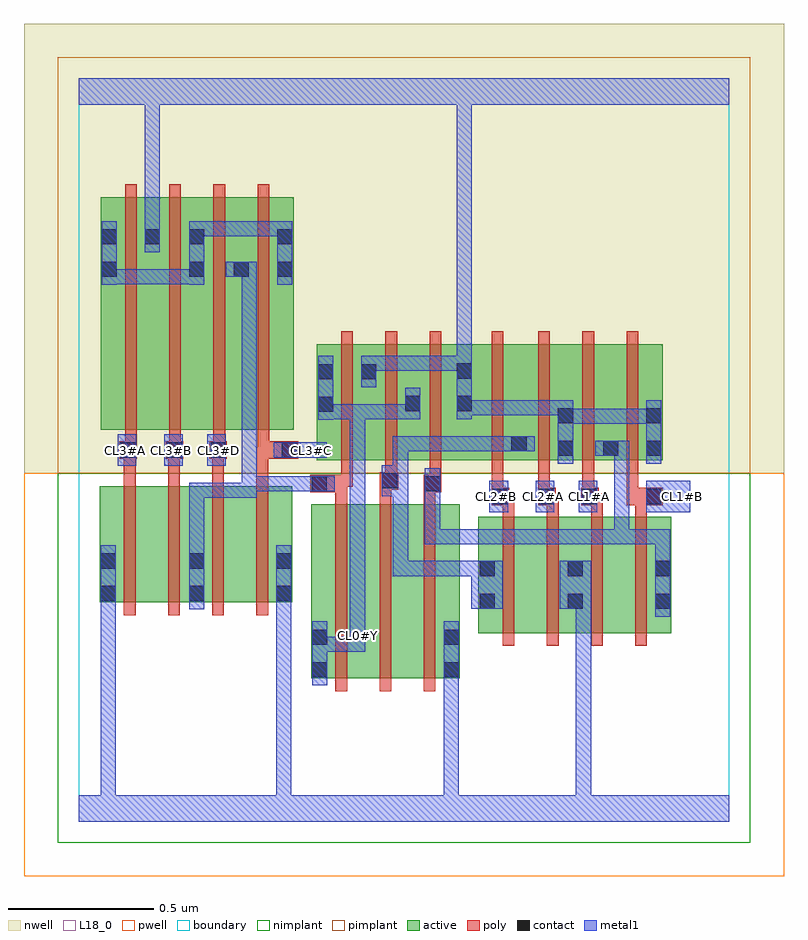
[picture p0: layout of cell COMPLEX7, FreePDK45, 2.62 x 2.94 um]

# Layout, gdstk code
import gdstk
lib = gdstk.Library(unit=1e-6, precision=1e-09)
def R(c, l, rs):  # rectangles x0, y0, x1, y1
    for r in rs: c.add(gdstk.rectangle(r[:2], r[2:], *l))
def A(c, l, x, y, w, h, nx, ny, dx, dy):  # array of equal rectangles
    R(c, l, [(x+i*dx, y+j*dy, x+i*dx+w, y+j*dy+h) for i in range(nx) for j in range(ny)])
active = (1, 0)
pwell = (2, 0)
nwell = (3, 0)
nimplant = (4, 0)
pimplant = (5, 0)
poly = (9, 0)
contact = (10, 0)
metal1 = (11, 0)
L18_0 = (18, 0)
boundary = (235, 0)

complex7 = lib.new_cell('COMPLEX7')
R(complex7, active, [(0.8,0.494,0.86,1.094), (0.8,0.494,0.98,1.094), (0.98,0.494,1.132,1.094), (1.132,0.494,1.312,1.094), (1.252,0.494,1.312,1.094), (1.376,0.65,1.556,1.05), (1.556,0.65,1.74,1.05), (1.68,0.65,1.86,1.05), (1.86,0.65,2.04,1.05), (1.98,0.65,2.04,1.05), (1.376,0.73,1.436,1.05), (1.68,0.73,1.74,0.902), (0.072,0.756,0.132,1.156), (0.072,0.756,0.252,1.156), (0.252,0.756,0.436,1.156), (0.376,0.756,0.556,1.156), (0.376,0.756,0.436,0.928), (0.556,0.756,0.736,1.156), (0.676,0.756,0.736,1.156), (0.82,1.244,0.88,1.644), (0.82,1.244,1.028,1.644), (0.968,1.244,1.028,1.644), (0.968,1.244,1.18,1.644), (1.12,1.244,1.18,1.644), (1.12,1.244,1.358,1.644), (1.298,1.244,1.358,1.644), (1.298,1.244,1.546,1.644), (1.486,1.244,1.546,1.644), (1.486,1.244,1.706,1.644), (1.646,1.244,1.706,1.644), (1.646,1.244,1.862,1.644), (1.802,1.244,1.862,1.644), (1.802,1.244,2.01,1.644), (1.95,1.244,2.01,1.644), (0.076,1.35,0.136,2.044), (0.076,1.35,0.284,2.15), (0.224,1.35,0.436,2.15), (0.224,1.35,0.284,2.15), (0.376,1.35,0.436,2.044), (0.376,1.35,0.59,2.15), (0.53,1.35,0.59,2.044), (0.53,1.35,0.74,2.15), (0.68,1.35,0.74,2.044)])
R(complex7, pwell, [(-0.188,-0.188,2.428,1.2)])
R(complex7, nwell, [(-0.188,1.2,2.428,2.748)])
R(complex7, nimplant, [(-0.072,-0.072,2.312,1.2)])
R(complex7, pimplant, [(-0.072,1.2,2.312,2.632)])
A(complex7, poly, 0.884, 0.45, 0.04, 0.688, 3, 1, 0.152, 0)
A(complex7, poly, 1.46, 0.606, 0.04, 0.488, 4, 1, 0.152, 0)
A(complex7, poly, 0.156, 0.712, 0.04, 0.488, 4, 1, 0.152, 0)
A(complex7, poly, 1.46, 1.054, 0.04, 0.076, 4, 1, 0.152, 0)
A(complex7, poly, 1.582, 1.11, 0.04, 0.13, 3, 1, 0.152, 0)
A(complex7, poly, 0.156, 1.16, 0.04, 0.13, 4, 1, 0.152, 0)
A(complex7, poly, 0.904, 1.2, 0.04, 0.488, 3, 1, 0.152, 0)
A(complex7, poly, 1.582, 1.2, 0.04, 0.488, 3, 1, 0.152, 0)
A(complex7, poly, 0.16, 1.27, 0.04, 0.076, 4, 1, 0.152, 0)
A(complex7, poly, 0.16, 1.306, 0.04, 0.888, 4, 1, 0.152, 0)
R(complex7, poly, [(1.422,1.09,1.482,1.15), (1.442,1.09,1.482,1.13), (1.442,1.09,1.5,1.13), (1.582,1.09,1.642,1.15), (1.602,1.09,1.642,1.13), (1.602,1.09,1.652,1.13), (1.73,1.09,1.79,1.15), (1.75,1.09,1.79,1.13), (1.75,1.09,1.804,1.13), (1.886,1.09,2.01,1.15), (1.916,1.09,1.956,1.13), (1.916,1.09,1.956,1.13), (0.884,1.098,0.924,1.174), (1.036,1.098,1.076,1.184), (1.188,1.098,1.228,1.174), (1.422,1.11,1.462,1.24), (0.798,1.134,0.924,1.194), (1.188,1.134,1.248,1.194), (1.036,1.144,1.1,1.204), (0.884,1.154,0.924,1.194), (0.884,1.154,0.944,1.194), (0.904,1.154,0.944,1.24), (1.208,1.154,1.248,1.194), (1.208,1.154,1.248,1.194), (1.208,1.154,1.248,1.24), (1.056,1.164,1.096,1.204), (1.056,1.164,1.096,1.204), (1.056,1.164,1.096,1.24), (1.422,1.2,1.462,1.688), (0.14,1.25,0.2,1.31), (0.156,1.25,0.196,1.29), (0.156,1.25,0.196,1.29), (0.3,1.25,0.36,1.31), (0.308,1.25,0.348,1.29), (0.308,1.25,0.348,1.29), (0.45,1.25,0.51,1.31), (0.46,1.25,0.5,1.29), (0.46,1.25,0.5,1.29), (0.612,1.25,0.656,1.29), (0.616,1.25,0.656,1.29), (0.616,1.25,0.756,1.31)])
R(complex7, contact, [(0.804,0.498,0.856,0.55), (1.256,0.498,1.308,0.55), (0.804,0.61,0.856,0.662), (1.256,0.61,1.308,0.662), (1.38,0.734,1.432,0.786), (1.684,0.734,1.736,0.786), (1.984,0.734,2.036,0.786), (0.076,0.76,0.128,0.812), (0.38,0.76,0.432,0.812), (0.68,0.76,0.732,0.812), (1.38,0.846,1.432,0.898), (1.684,0.846,1.736,0.898), (1.984,0.846,2.036,0.898), (0.076,0.872,0.128,0.924), (0.38,0.872,0.432,0.924), (0.68,0.872,0.732,0.924), (1.426,1.094,1.478,1.146), (1.586,1.094,1.638,1.146), (1.734,1.094,1.786,1.146), (1.954,1.094,2.006,1.146), (0.802,1.138,0.854,1.19), (1.192,1.138,1.244,1.19), (1.044,1.148,1.096,1.2), (0.144,1.254,0.196,1.306), (0.304,1.254,0.356,1.306), (0.454,1.254,0.506,1.306), (0.7,1.254,0.752,1.306), (1.65,1.26,1.702,1.312), (1.806,1.26,1.858,1.312), (1.954,1.26,2.006,1.312), (1.49,1.276,1.542,1.328), (1.65,1.372,1.702,1.424), (1.954,1.372,2.006,1.424), (0.824,1.412,0.876,1.464), (1.124,1.414,1.176,1.466), (1.302,1.414,1.354,1.466), (0.824,1.524,0.876,1.576), (0.972,1.524,1.024,1.576), (1.302,1.526,1.354,1.578), (0.08,1.876,0.132,1.928), (0.38,1.876,0.432,1.928), (0.534,1.876,0.586,1.928), (0.684,1.876,0.736,1.928), (0.08,1.988,0.132,2.04), (0.228,1.988,0.28,2.04), (0.38,1.988,0.432,2.04), (0.684,1.988,0.736,2.04)])
A(complex7, metal1, 1.082, 1.276, 0.052, 0.052, 3, 1, 0.11, 0)
A(complex7, metal1, 0.972, 1.552, 0.052, 0.052, 3, 1, 0.11, 0)
A(complex7, metal1, 0.972, 1.552, 0.162, 0.052, 3, 1, 0.11, 0)
R(complex7, metal1, [(0,0,2.24,0.092), (0.076,0.04,0.128,0.092), (0.076,0.04,0.128,0.092), (0.076,0.04,0.128,0.092), (0.076,0.04,0.128,0.092), (0.076,0.04,0.128,0.092), (0.076,0.04,0.128,0.092), (0.076,0.04,0.128,0.092), (0.076,0.04,0.128,0.092), (0.076,0.04,0.128,0.784), (0.68,0.04,0.732,0.092), (0.68,0.04,0.732,0.092), (0.68,0.04,0.732,0.092), (0.68,0.04,0.732,0.092), (0.68,0.04,0.732,0.092), (0.68,0.04,0.732,0.092), (0.68,0.04,0.732,0.092), (0.68,0.04,0.732,0.092), (0.68,0.04,0.732,0.784), (1.256,0.04,1.308,0.092), (1.256,0.04,1.308,0.092), (1.256,0.04,1.308,0.092), (1.256,0.04,1.308,0.092), (1.256,0.04,1.308,0.092), (1.256,0.04,1.308,0.092), (1.256,0.04,1.308,0.522), (1.712,0.04,1.764,0.092), (1.712,0.04,1.764,0.092), (1.712,0.04,1.764,0.092), (1.712,0.04,1.764,0.092), (1.712,0.04,1.764,0.092), (1.712,0.04,1.764,0.092), (1.712,0.04,1.764,0.092), (1.712,0.04,1.764,0.092), (1.712,0.04,1.764,0.786), (0.804,0.47,0.856,0.69), (1.256,0.47,1.308,0.522), (1.256,0.47,1.308,0.522), (1.256,0.47,1.308,0.69), (0.804,0.586,0.856,0.638), (0.804,0.586,0.856,0.638), (0.804,0.586,0.986,0.638), (0.934,0.586,0.986,0.638), (0.934,0.586,0.986,0.638), (0.934,0.586,0.986,0.694), (0.934,0.642,0.986,1.3), (1.984,0.706,2.036,0.926), (0.076,0.732,0.128,0.784), (0.076,0.732,0.128,0.784), (0.076,0.732,0.128,0.784), (0.076,0.732,0.128,0.784), (0.076,0.732,0.128,0.952), (0.38,0.732,0.432,0.952), (0.68,0.732,0.732,0.784), (0.68,0.732,0.732,0.784), (0.68,0.732,0.732,0.784), (0.68,0.732,0.732,0.784), (0.68,0.732,0.732,0.952), (1.352,0.734,1.46,0.898), (1.656,0.734,1.764,0.898), (1.712,0.734,1.764,0.786), (1.712,0.734,1.764,0.786), (1.712,0.734,1.764,0.786), (1.712,0.734,1.764,0.786), (1.082,0.846,1.134,0.898), (1.082,0.846,1.244,0.898), (1.082,0.846,1.134,1.172), (1.192,0.846,1.244,0.898), (1.192,0.846,1.244,0.898), (1.192,0.846,1.244,0.898), (1.192,0.846,1.404,0.898), (1.984,0.874,2.036,1.008), (0.38,0.9,0.432,1.168), (1.192,0.956,1.354,1.008), (1.192,0.956,1.244,1.162), (1.302,0.956,1.354,1.008), (1.302,0.956,1.464,1.008), (1.412,0.956,1.464,1.008), (1.412,0.956,1.464,1.008), (1.412,0.956,1.464,1.008), (1.412,0.956,1.664,1.008), (1.612,0.956,1.664,1.008), (1.612,0.956,1.69,1.008), (1.638,0.956,1.69,1.008), (1.638,0.956,1.896,1.008), (1.844,0.956,1.896,1.008), (1.844,0.956,1.896,1.008), (1.844,0.956,1.896,1.008), (1.844,0.956,1.896,1.008), (1.844,0.956,1.896,1.008), (1.844,0.956,2.036,1.008), (1.844,0.956,1.896,1.312), (1.984,0.956,2.036,1.008), (1.984,0.956,2.036,1.008), (1.984,0.956,2.036,1.008), (1.414,1.066,1.478,1.174), (1.574,1.066,1.638,1.174), (1.722,1.066,1.786,1.174), (1.954,1.066,2.106,1.174), (1.192,1.11,1.244,1.162), (1.192,1.11,1.244,1.218), (0.38,1.116,0.432,1.168), (0.38,1.116,0.432,1.168), (0.38,1.116,0.432,1.168), (0.38,1.116,0.614,1.168), (0.562,1.116,0.614,1.19), (1.044,1.12,1.096,1.228), (1.044,1.12,1.134,1.172), (1.082,1.12,1.134,1.172), (1.082,1.12,1.134,1.328), (0.562,1.138,0.716,1.19), (0.562,1.138,0.614,1.928), (0.664,1.138,0.716,1.19), (0.664,1.138,0.722,1.19), (0.67,1.138,0.722,1.19), (0.67,1.138,0.826,1.19), (0.774,1.138,0.826,1.19), (0.774,1.138,0.826,1.19), (0.774,1.138,0.882,1.19), (0.134,1.226,0.198,1.334), (0.294,1.226,0.358,1.334), (0.442,1.226,0.506,1.334), (1.65,1.232,1.702,1.452), (1.954,1.232,2.006,1.452), (0.934,1.248,0.986,1.3), (0.934,1.248,0.986,1.438), (0.672,1.254,0.854,1.306), (1.778,1.26,1.896,1.312), (1.082,1.276,1.244,1.328), (1.192,1.276,1.354,1.328), (1.302,1.276,1.354,1.328), (1.302,1.276,1.354,1.328), (1.302,1.276,1.354,1.328), (1.302,1.276,1.354,1.328), (1.302,1.276,1.514,1.328), (1.462,1.276,1.514,1.328), (1.462,1.276,1.514,1.328), (1.462,1.276,1.57,1.328), (1.65,1.37,1.896,1.422), (1.844,1.37,1.896,1.422), (1.844,1.37,1.896,1.422), (1.844,1.37,1.896,1.422), (1.844,1.37,2.006,1.422), (1.954,1.37,2.006,1.422), (1.954,1.37,2.006,1.422), (0.824,1.384,0.876,1.604), (0.824,1.386,0.876,1.438), (0.824,1.386,0.876,1.438), (0.824,1.386,0.986,1.438), (0.934,1.386,0.986,1.438), (0.934,1.386,0.992,1.438), (0.94,1.386,0.992,1.438), (0.94,1.386,1.176,1.438), (1.124,1.386,1.176,1.494), (1.302,1.386,1.354,1.606), (1.302,1.4,1.354,1.452), (1.302,1.4,1.354,1.452), (1.302,1.4,1.516,1.452), (1.464,1.4,1.516,1.452), (1.464,1.4,1.58,1.452), (1.528,1.4,1.58,1.452), (1.528,1.4,1.654,1.452), (1.602,1.4,1.654,1.452), (1.602,1.4,1.702,1.452), (0.972,1.496,1.024,1.604), (0.972,1.552,1.024,1.604), (1.302,1.554,1.354,1.606), (1.302,1.554,1.354,1.606), (1.302,1.554,1.354,1.606), (1.302,1.554,1.354,1.606), (1.302,1.554,1.354,1.606), (1.302,1.554,1.354,1.606), (1.302,1.554,1.354,2.52), (0.08,1.848,0.132,2.068), (0.38,1.848,0.432,2.068), (0.684,1.848,0.736,2.068), (0.08,1.85,0.132,1.902), (0.08,1.85,0.132,1.902), (0.08,1.85,0.322,1.902), (0.27,1.85,0.322,1.902), (0.27,1.85,0.322,1.902), (0.27,1.85,0.322,1.902), (0.27,1.85,0.432,1.902), (0.506,1.876,0.614,1.928), (0.562,1.876,0.614,1.928), (0.562,1.876,0.614,1.928), (0.228,1.96,0.28,2.068), (0.228,2.016,0.28,2.068), (0.228,2.016,0.28,2.068), (0.228,2.016,0.28,2.52), (0.38,2.016,0.432,2.068), (0.38,2.016,0.432,2.068), (0.38,2.016,0.432,2.068), (0.38,2.016,0.432,2.068), (0.38,2.016,0.57,2.068), (0.518,2.016,0.57,2.068), (0.518,2.016,0.664,2.068), (0.612,2.016,0.664,2.068), (0.612,2.016,0.736,2.068), (0,2.468,2.24,2.56), (0.228,2.468,0.28,2.52), (0.228,2.468,0.28,2.52), (0.228,2.468,0.28,2.52), (0.228,2.468,0.28,2.52), (0.228,2.468,0.28,2.52), (0.228,2.468,0.28,2.52), (1.302,2.468,1.354,2.52), (1.302,2.468,1.354,2.52), (1.302,2.468,1.354,2.52), (1.302,2.468,1.354,2.52), (1.302,2.468,1.354,2.52), (1.302,2.468,1.354,2.52), (1.302,2.468,1.354,2.52), (1.302,2.468,1.354,2.52), (1.302,2.468,1.354,2.52), (1.302,2.468,1.354,2.52)])
A(complex7, L18_0, 1.414, 1.094, 0.052, 0.052, 3, 1, 0.16, 0)
A(complex7, L18_0, 0.134, 1.254, 0.052, 0.052, 3, 1, 0.16, 0)
A(complex7, L18_0, 0.972, 1.552, 0.052, 0.052, 3, 1, 0.11, 0)
A(complex7, L18_0, 0.972, 1.552, 0.162, 0.052, 3, 1, 0.11, 0)
R(complex7, L18_0, [(0,0,2.24,0.092), (0.076,0.04,0.128,0.092), (0.076,0.04,0.128,0.092), (0.076,0.04,0.128,0.092), (0.076,0.04,0.128,0.092), (0.076,0.04,0.128,0.092), (0.076,0.04,0.128,0.092), (0.076,0.04,0.128,0.092), (0.076,0.04,0.128,0.092), (0.076,0.04,0.128,0.784), (0.68,0.04,0.732,0.092), (0.68,0.04,0.732,0.092), (0.68,0.04,0.732,0.092), (0.68,0.04,0.732,0.092), (0.68,0.04,0.732,0.092), (0.68,0.04,0.732,0.092), (0.68,0.04,0.732,0.092), (0.68,0.04,0.732,0.092), (0.68,0.04,0.732,0.784), (1.256,0.04,1.308,0.092), (1.256,0.04,1.308,0.092), (1.256,0.04,1.308,0.092), (1.256,0.04,1.308,0.092), (1.256,0.04,1.308,0.092), (1.256,0.04,1.308,0.092), (1.256,0.04,1.308,0.522), (1.712,0.04,1.764,0.092), (1.712,0.04,1.764,0.092), (1.712,0.04,1.764,0.092), (1.712,0.04,1.764,0.092), (1.712,0.04,1.764,0.092), (1.712,0.04,1.764,0.092), (1.712,0.04,1.764,0.092), (1.712,0.04,1.764,0.092), (1.712,0.04,1.764,0.786), (0.804,0.47,0.856,0.69), (1.256,0.47,1.308,0.522), (1.256,0.47,1.308,0.522), (1.256,0.47,1.308,0.69), (0.804,0.586,0.856,0.638), (0.804,0.586,0.856,0.638), (0.804,0.586,0.986,0.638), (0.934,0.586,0.986,0.638), (0.934,0.586,0.986,0.638), (0.934,0.586,0.986,0.694), (0.934,0.614,0.986,0.666), (0.934,0.642,0.986,1.3), (0.076,0.732,0.128,0.784), (0.076,0.732,0.128,0.784), (0.076,0.732,0.128,0.784), (0.076,0.732,0.128,0.784), (0.076,0.732,0.128,0.952), (0.68,0.732,0.732,0.784), (0.68,0.732,0.732,0.784), (0.68,0.732,0.732,0.784), (0.68,0.732,0.732,0.784), (0.68,0.732,0.732,0.952), (1.656,0.734,1.764,0.898), (1.712,0.734,1.764,0.786), (1.712,0.734,1.764,0.786), (1.712,0.734,1.764,0.786), (1.712,0.734,1.764,0.786), (1.414,1.066,1.478,1.174), (1.574,1.066,1.638,1.174), (1.722,1.066,1.786,1.174), (1.954,1.066,2.106,1.174), (2.054,1.094,2.106,1.146), (0.134,1.226,0.198,1.334), (0.294,1.226,0.358,1.334), (0.442,1.226,0.506,1.334), (1.65,1.232,1.702,1.452), (1.954,1.232,2.006,1.452), (0.934,1.248,0.986,1.3), (0.934,1.248,0.986,1.438), (0.672,1.254,0.854,1.306), (0.774,1.254,0.826,1.306), (1.65,1.37,1.896,1.422), (1.844,1.37,1.896,1.422), (1.844,1.37,1.896,1.422), (1.844,1.37,1.896,1.422), (1.844,1.37,2.006,1.422), (1.954,1.37,2.006,1.422), (1.954,1.37,2.006,1.422), (0.824,1.384,0.876,1.604), (0.824,1.386,0.876,1.438), (0.824,1.386,0.876,1.438), (0.824,1.386,0.986,1.438), (0.934,1.386,0.986,1.438), (0.934,1.386,0.992,1.438), (0.94,1.386,0.992,1.438), (0.94,1.386,1.176,1.438), (1.124,1.386,1.176,1.494), (1.302,1.386,1.354,1.606), (1.302,1.4,1.354,1.452), (1.302,1.4,1.354,1.452), (1.302,1.4,1.516,1.452), (1.464,1.4,1.516,1.452), (1.464,1.4,1.58,1.452), (1.528,1.4,1.58,1.452), (1.528,1.4,1.654,1.452), (1.602,1.4,1.654,1.452), (1.602,1.4,1.702,1.452), (0.972,1.496,1.024,1.604), (0.972,1.552,1.024,1.604), (1.302,1.554,1.354,1.606), (1.302,1.554,1.354,1.606), (1.302,1.554,1.354,1.606), (1.302,1.554,1.354,1.606), (1.302,1.554,1.354,1.606), (1.302,1.554,1.354,1.606), (1.302,1.554,1.354,2.52), (0.228,1.96,0.28,2.068), (0.228,2.016,0.28,2.068), (0.228,2.016,0.28,2.068), (0.228,2.016,0.28,2.52), (0,2.468,2.24,2.56), (0.228,2.468,0.28,2.52), (0.228,2.468,0.28,2.52), (0.228,2.468,0.28,2.52), (0.228,2.468,0.28,2.52), (0.228,2.468,0.28,2.52), (0.228,2.468,0.28,2.52), (1.302,2.468,1.354,2.52), (1.302,2.468,1.354,2.52), (1.302,2.468,1.354,2.52), (1.302,2.468,1.354,2.52), (1.302,2.468,1.354,2.52), (1.302,2.468,1.354,2.52), (1.302,2.468,1.354,2.52), (1.302,2.468,1.354,2.52), (1.302,2.468,1.354,2.52), (1.302,2.468,1.354,2.52)])
R(complex7, boundary, [(0,0,2.24,2.56)])
complex7.add(gdstk.Label('CL0#Y', (0.96,0.64), layer=11, texttype=0))
complex7.add(gdstk.Label('CL1#A', (1.76,1.12), layer=11, texttype=0))
complex7.add(gdstk.Label('CL1#B', (2.08,1.12), layer=11, texttype=0))
complex7.add(gdstk.Label('CL2#A', (1.6,1.12), layer=11, texttype=0))
complex7.add(gdstk.Label('CL2#B', (1.44,1.12), layer=11, texttype=0))
complex7.add(gdstk.Label('CL3#A', (0.16,1.28), layer=11, texttype=0))
complex7.add(gdstk.Label('CL3#B', (0.32,1.28), layer=11, texttype=0))
complex7.add(gdstk.Label('CL3#C', (0.8,1.28), layer=11, texttype=0))
complex7.add(gdstk.Label('CL3#D', (0.48,1.28), layer=11, texttype=0))

lib.write_gds('COMPLEX7.gds')
